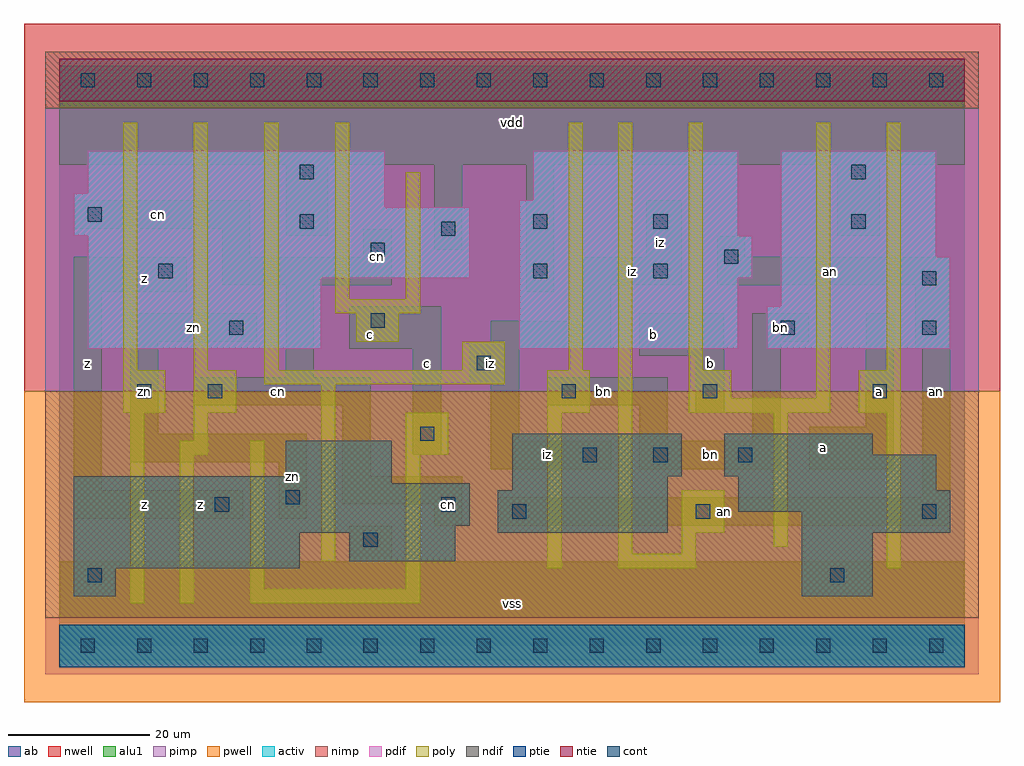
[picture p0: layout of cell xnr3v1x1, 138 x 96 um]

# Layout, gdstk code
import gdstk
lib = gdstk.Library(unit=1e-6, precision=1e-09)
def R(c, l, rs):  # rectangles x0, y0, x1, y1
    for r in rs: c.add(gdstk.rectangle(r[:2], r[2:], *l))
def A(c, l, x, y, w, h, nx, ny, dx, dy):  # array of equal rectangles
    R(c, l, [(x+i*dx, y+j*dy, x+i*dx+w, y+j*dy+h) for i in range(nx) for j in range(ny)])
ndif = (3, 0)
pdif = (4, 0)
ntie = (5, 0)
ptie = (6, 0)
cont = (25, 0)
pwell = (41, 0)
nwell = (42, 0)
activ = (43, 0)
pimp = (44, 0)
nimp = (45, 0)
poly = (46, 0)
alu1 = (49, 0)
ab = (63, 0)

xnr3v1x1 = lib.new_cell('xnr3v1x1')
R(xnr3v1x1, ndif, [(2,7,8,11), (105,7,115,16), (2,11,34,16), (41,12,56,16), (2,16,56,17), (62,16,86,22), (105,16,126,19), (2,17,58,23), (96,19,126,22), (64,22,86,24), (96,22,124,24), (2,23,47,24), (32,24,47,29), (64,24,88,30), (94,24,124,27), (94,27,115,30)])
R(xnr3v1x1, pdif, [(4,42,37,52), (65,42,96,52), (100,42,126,48), (102,48,126,55), (4,52,58,58), (65,52,98,58), (102,55,124,70), (2,58,58,62), (65,58,96,63), (2,62,46,64), (67,63,96,70), (4,64,46,70)])
R(xnr3v1x1, ntie, [(0,77,128,83)])
R(xnr3v1x1, ptie, [(0,-3,128,3)])
A(xnr3v1x1, cont, 3, -1, 2, 2, 16, 2, 8, 80)
R(xnr3v1x1, cont, [(4,9,6,11), (109,9,111,11), (43,14,45,16), (64,18,66,20), (90,18,92,20), (122,18,124,20), (22,19,24,21), (54,19,56,21), (32,20,34,22), (74,26,76,28), (84,26,86,28), (96,26,98,28), (51,29,53,31), (11,35,13,37), (21,35,23,37), (71,35,73,37), (91,35,93,37), (115,35,117,37), (59,39,61,41), (24,44,26,46), (102,44,104,46), (122,44,124,46), (44,45,46,47), (122,51,124,53), (14,52,16,54), (67,52,69,54), (84,52,86,54), (94,54,96,56), (44,55,46,57), (54,58,56,60), (34,59,36,61), (67,59,69,61), (84,59,86,61), (112,59,114,61), (4,60,6,62), (34,66,36,68), (112,66,114,68)])
R(xnr3v1x1, pwell, [(-5,-8,133,36)])
R(xnr3v1x1, nwell, [(-5,36,133,88)])
R(xnr3v1x1, activ, [(0,-3,128,3), (2,7,8,11), (105,7,115,16), (2,11,34,16), (41,12,56,16), (2,16,56,17), (62,16,86,22), (105,16,126,19), (2,17,58,23), (96,19,126,22), (64,22,86,24), (96,22,124,24), (2,23,47,24), (32,24,47,29), (64,24,88,30), (94,24,124,27), (94,27,115,30), (4,42,37,52), (65,42,96,52), (100,42,126,48), (102,48,126,55), (4,52,58,58), (65,52,98,58), (102,55,124,70), (2,58,58,62), (65,58,96,63), (2,62,46,64), (67,63,96,70), (4,64,46,70), (0,77,128,83)])
R(xnr3v1x1, pimp, [(-2,-4,130,4), (-2,36,130,76)])
R(xnr3v1x1, nimp, [(-2,4,130,36), (-2,76,130,84)])
A(xnr3v1x1, poly, 9, 39, 2, 35, 3, 1, 10, 0)
R(xnr3v1x1, poly, [(10,6,12,33), (17,6,19,27), (27,6,51,8), (27,8,29,29), (49,8,51,27), (69,11,71,33), (79,11,90,13), (117,11,119,33), (37,12,39,37), (79,13,81,74), (88,13,90,16), (101,14,103,33), (88,16,94,22), (17,27,21,29), (49,27,55,33), (19,29,21,33), (9,33,15,39), (19,33,25,39), (69,33,75,39), (89,33,109,35), (113,33,119,39), (89,35,95,39), (107,35,109,74), (29,37,63,39), (57,39,63,43), (72,39,74,74), (89,39,91,74), (117,39,119,74), (42,43,48,47), (39,47,51,49), (39,49,41,74), (49,49,51,67)])
R(xnr3v1x1, alu1, [(0,-2,128,12), (41,12,47,17), (53,17,57,20), (62,17,126,21), (2,18,26,22), (31,18,35,26), (40,20,57,24), (122,21,126,42), (2,22,6,50), (40,24,44,34), (61,25,78,29), (82,25,102,29), (106,25,118,31), (10,26,35,30), (50,27,54,42), (61,29,65,37), (82,29,86,34), (98,29,102,43), (10,30,14,43), (114,31,118,47), (90,33,94,41), (19,34,44,38), (69,34,86,38), (58,37,65,42), (32,38,36,51), (82,41,94,47), (41,42,54,48), (58,42,78,43), (121,42,126,51), (10,43,28,47), (61,43,78,46), (98,43,106,47), (74,46,78,51), (2,50,18,55), (66,50,70,68), (23,51,47,55), (74,51,88,55), (93,51,126,55), (23,55,27,59), (43,55,47,59), (83,55,88,63), (93,55,97,58), (53,56,57,68), (32,58,38,68), (110,58,116,68), (2,59,27,63), (0,68,128,82)])
R(xnr3v1x1, ab, [(0,0,128,80)])
xnr3v1x1.add(gdstk.Label('zn', (12,36), layer=49, texttype=0))
xnr3v1x1.add(gdstk.Label('zn', (33,24), layer=49, texttype=0))
xnr3v1x1.add(gdstk.Label('cn', (31,36), layer=49, texttype=0))
xnr3v1x1.add(gdstk.Label('zn', (19,45), layer=49, texttype=0))
xnr3v1x1.add(gdstk.Label('cn', (14,61), layer=49, texttype=0))
xnr3v1x1.add(gdstk.Label('cn', (45,55), layer=49, texttype=0))
xnr3v1x1.add(gdstk.Label('cn', (55,20), layer=49, texttype=0))
xnr3v1x1.add(gdstk.Label('iz', (61,40), layer=49, texttype=0))
xnr3v1x1.add(gdstk.Label('iz', (69,27), layer=49, texttype=0))
xnr3v1x1.add(gdstk.Label('bn', (77,36), layer=49, texttype=0))
xnr3v1x1.add(gdstk.Label('iz', (81,53), layer=49, texttype=0))
xnr3v1x1.add(gdstk.Label('iz', (85,57), layer=49, texttype=0))
xnr3v1x1.add(gdstk.Label('bn', (92,27), layer=49, texttype=0))
xnr3v1x1.add(gdstk.Label('an', (94,19), layer=49, texttype=0))
xnr3v1x1.add(gdstk.Label('bn', (102,45), layer=49, texttype=0))
xnr3v1x1.add(gdstk.Label('an', (124,36), layer=49, texttype=0))
xnr3v1x1.add(gdstk.Label('an', (109,53), layer=49, texttype=0))
xnr3v1x1.add(gdstk.Label('z', (20,20), layer=49, texttype=0))
xnr3v1x1.add(gdstk.Label('z', (12,20), layer=49, texttype=0))
xnr3v1x1.add(gdstk.Label('z', (4,40), layer=49, texttype=0))
xnr3v1x1.add(gdstk.Label('z', (12,52), layer=49, texttype=0))
xnr3v1x1.add(gdstk.Label('c', (52,40), layer=49, texttype=0))
xnr3v1x1.add(gdstk.Label('c', (44,44), layer=49, texttype=0))
xnr3v1x1.add(gdstk.Label('vss', (64,6), layer=49, texttype=0))
xnr3v1x1.add(gdstk.Label('b', (92,40), layer=49, texttype=0))
xnr3v1x1.add(gdstk.Label('b', (84,44), layer=49, texttype=0))
xnr3v1x1.add(gdstk.Label('vdd', (64,74), layer=49, texttype=0))
xnr3v1x1.add(gdstk.Label('a', (116,36), layer=49, texttype=0))
xnr3v1x1.add(gdstk.Label('a', (108,28), layer=49, texttype=0))

lib.write_gds('xnr3v1x1.gds')
